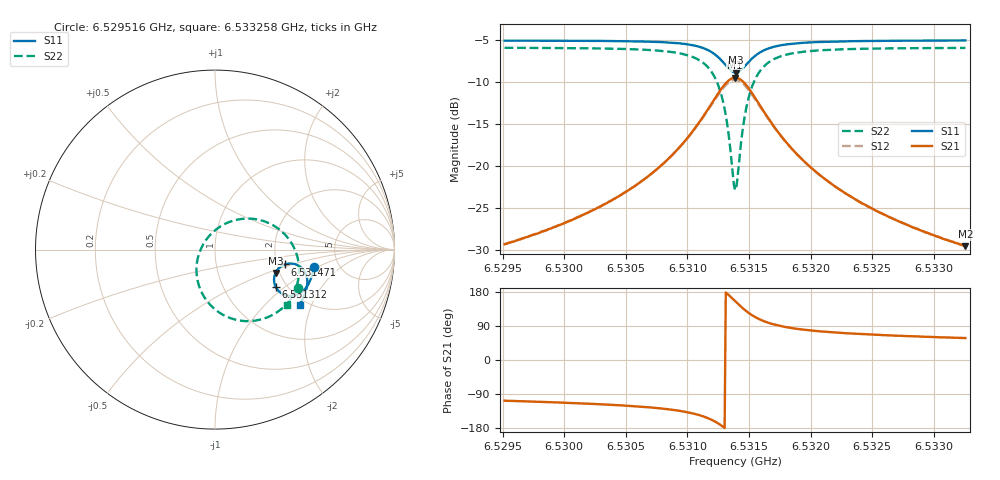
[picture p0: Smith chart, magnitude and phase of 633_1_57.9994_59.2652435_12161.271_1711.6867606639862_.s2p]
#  HZ  S  RI  R  50.00
! Rohde & Schwarz Vector Network Analyzer
! Rohde-Schwarz,ZNB20-2Port,1311601062101988,3.16
! Created: UTC 3/21/2024, 1:18:43 AM
! freq[Hz]  re:S11  im:S11  re:S21  im:S21  re:S12  im:S12  re:S22  im:S22
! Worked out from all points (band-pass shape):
!   401 points, 6.529516 GHz to 6.533258 GHz, reference 50 ohm
!   highest |S21| = -9.45 dB at 6.531387 GHz (marker M1); lowest = -29.6 dB at 6.533258 GHz (marker M2)
!   |S21| within 3 dB of the highest: 6.531201 GHz to 6.531575 GHz (373.7 kHz wide, 0.00572 % of centre)
!   lowest |S11| = -8.8 dB at 6.531396 GHz (marker M3), VSWR 2.13, Z = 95.2 - j28.5 ohm
!   |S11| at or under -10 dB: nowhere
!   |S22| runs from -22.9 to -5.9 dB; largest |S21 - S12| = 0.014
!   S11 on the Smith chart (normalised r, x): 6.529516 GHz: 3.27, -0.91; 6.531312 GHz: 1.75, -0.88; 6.531471 GHz: 2.22, -0.43; 6.533258 GHz: 1.83, -1.64
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6.5295161e9  0.5524 -0.0951  -0.0102 -0.0325  -0.011 -0.0323  0.461 -0.2129
6.5301427e9  0.5394 -0.1482  -0.0211 -0.0461  -0.0222 -0.0455  0.4253 -0.272
6.5304514e9  0.5279 -0.1774  -0.0328 -0.0578  -0.0344 -0.057  0.3943 -0.3084
6.5307694e9  0.5073 -0.2129  -0.0595 -0.0779  -0.0617 -0.0761  0.334 -0.3563
6.5309939e9  0.4754 -0.2428  -0.1067 -0.098  -0.1096 -0.094  0.2396 -0.3932
6.5311529e9  0.4253 -0.2588  -0.1847 -0.0998  -0.1866 -0.0916  0.0984 -0.3861
6.5312465e9  0.3753 -0.2469  -0.2612 -0.0623  -0.2587 -0.0511  -0.0263 -0.3079
6.5312839e9  0.3536 -0.2298  -0.293 -0.0266  -0.2871 -0.0151  -0.0728 -0.2417
6.531312e9  0.3398 -0.2104  -0.3117 0.0108  -0.303 0.0212  -0.0962 -0.1764
6.53134e9  0.331 -0.1859  -0.3214 0.0559  -0.3102 0.0643  -0.1032 -0.1003
6.5313681e9  0.3297 -0.158  -0.3179 0.1055  -0.305 0.1107  -0.0879 -0.0202
6.5313868e9  0.3336 -0.1393  -0.3074 0.1381  -0.2942 0.1408  -0.0647 0.0309
6.5313961e9  0.3371 -0.1303  -0.2997 0.1533  -0.2867 0.155  -0.0495 0.0545
6.5314336e9  0.3594 -0.1002  -0.2562 0.2042  -0.2452 0.202  0.0306 0.1293
6.531471e9  0.3892 -0.0825  -0.2021 0.233  -0.1939 0.2288  0.1243 0.167
6.5315365e9  0.4389 -0.0795  -0.1155 0.2377  -0.1117 0.2336  0.269 0.1595
6.53163e9  0.483 -0.1029  -0.0407 0.2023  -0.0389 0.2  0.3898 0.0837
6.5317703e9  0.5082 -0.142  0.00351 0.1481  0.00457 0.1472  0.4542 -0.0242
6.5320135e9  0.5141 -0.1893  0.0208 0.0941  0.022 0.0937  0.4679 -0.1347
6.5322941e9  0.5079 -0.2252  0.0225 0.0639  0.0236 0.0636  0.4556 -0.2025
6.5326402e9  0.496 -0.2585  0.0209 0.0447  0.0218 0.0445  0.4357 -0.2529
6.5332575e9  0.4712 -0.3062  0.0176 0.0281  0.0183 0.0278  0.4006 -0.3109
